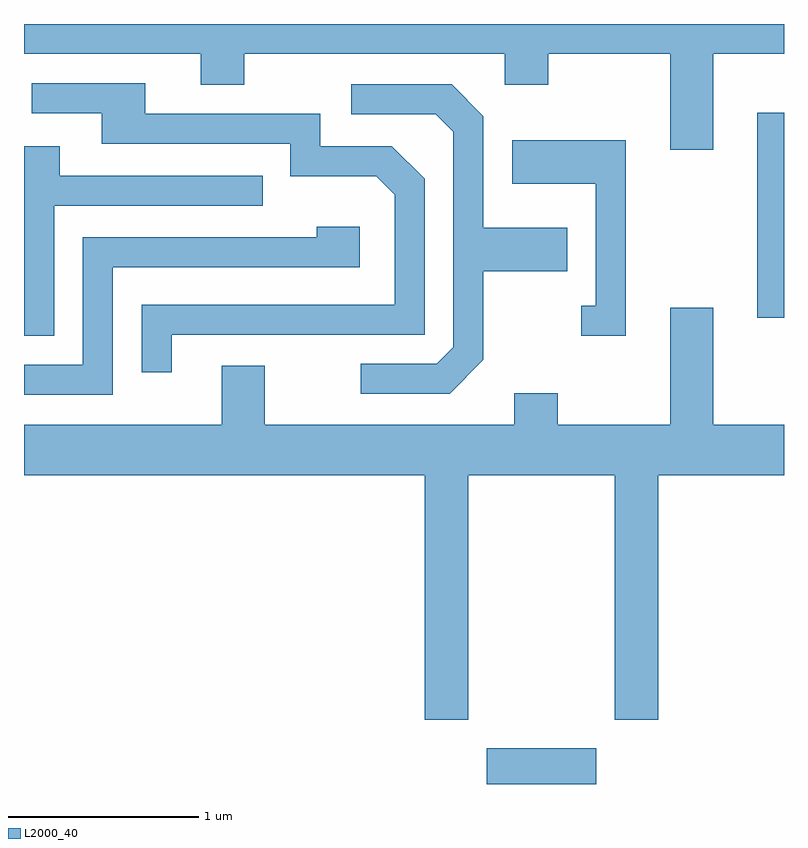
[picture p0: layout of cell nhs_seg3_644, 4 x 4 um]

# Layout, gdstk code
import gdstk
lib = gdstk.Library(unit=1e-6, precision=1e-09)
def R(c, l, rs):  # rectangles x0, y0, x1, y1
    for r in rs: c.add(gdstk.rectangle(r[:2], r[2:], *l))
def P(c, l, *ps):  # polygons
    for p in ps: c.add(gdstk.Polygon(p, *l))
L2000_40 = (2000, 40)

nhs_seg3_644 = lib.new_cell('nhs_seg3_644')
R(nhs_seg3_644, L2000_40, [(206.046,1179.892,206.624,1180.079), (207.471,1182.346,207.611,1183.424)])
P(nhs_seg3_644, L2000_40, [(207.239,1183.736),(207.611,1183.736),(207.611,1183.892),(203.611,1183.892),(203.611,1183.736),(204.541,1183.736),(204.541,1183.571),(204.769,1183.571),(204.769,1183.736),(206.141,1183.736),(206.141,1183.571),(206.369,1183.571),(206.369,1183.736),(207.011,1183.736),(207.011,1183.231),(207.239,1183.231)],
  [(204.389,1182.256),(205.719,1182.256),(205.719,1183.077),(205.547,1183.249),(205.169,1183.249),(205.169,1183.419),(204.249,1183.419),(204.249,1183.579),(203.653,1183.579),(203.653,1183.421),(204.021,1183.421),(204.021,1183.261),(205.011,1183.261),(205.011,1183.091),(205.464,1183.091),(205.561,1182.994),(205.561,1182.414),(204.231,1182.414),(204.231,1182.058),(204.389,1182.058)],
  [(206.029,1182.124),(206.029,1182.591),(206.469,1182.591),(206.469,1182.819),(206.029,1182.819),(206.029,1183.407),(205.862,1183.574),(205.333,1183.574),(205.333,1183.416),(205.779,1183.416),(205.871,1183.324),(205.871,1182.192),(205.784,1182.104),(205.383,1182.104),(205.383,1181.946),(205.852,1181.946)],
  [(206.779,1183.279),(206.181,1183.279),(206.181,1183.051),(206.621,1183.051),(206.621,1182.409),(206.543,1182.409),(206.543,1182.251),(206.779,1182.251)],
  [(203.769,1182.936),(204.868,1182.936),(204.868,1183.094),(203.799,1183.094),(203.799,1183.249),(203.611,1183.249),(203.611,1182.251),(203.769,1182.251)],
  [(204.079,1182.611),(205.379,1182.611),(205.379,1182.824),(205.151,1182.824),(205.151,1182.769),(203.921,1182.769),(203.921,1182.099),(203.611,1182.099),(203.611,1181.941),(204.079,1181.941)],
  [(205.949,1181.516),(206.721,1181.516),(206.721,1180.231),(206.949,1180.231),(206.949,1181.516),(207.611,1181.516),(207.611,1181.784),(207.239,1181.784),(207.239,1182.399),(207.011,1182.399),(207.011,1181.784),(206.419,1181.784),(206.419,1181.949),(206.191,1181.949),(206.191,1181.784),(204.879,1181.784),(204.879,1182.094),(204.651,1182.094),(204.651,1181.784),(203.611,1181.784),(203.611,1181.516),(205.721,1181.516),(205.721,1180.231),(205.949,1180.231)])

lib.write_gds('nhs_seg3_644.gds')
